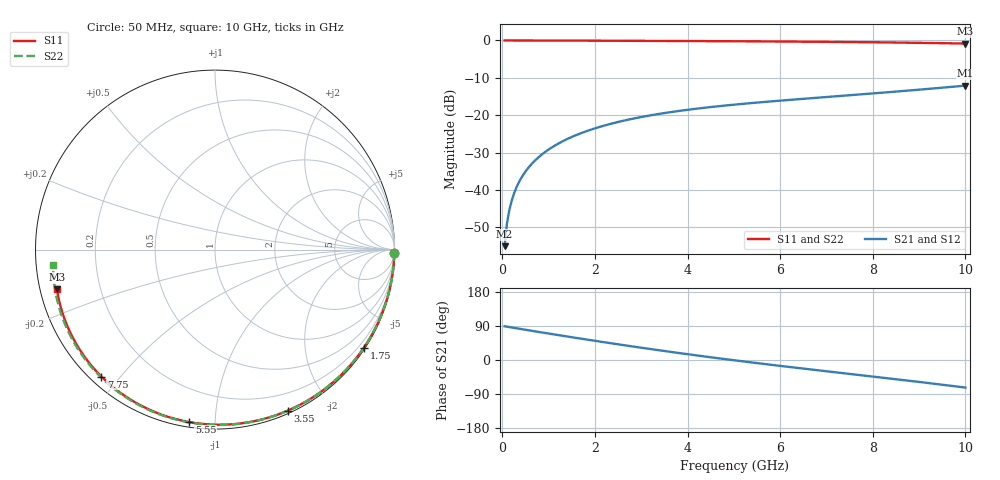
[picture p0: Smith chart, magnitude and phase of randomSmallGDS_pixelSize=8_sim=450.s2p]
! freq	dB(S11)	phase(S11)	dB(S12)	phase(S12)
!  dB(S21)	phase(S21)	dB(S22)	phase(S22)
!S-par simulation data
#  GHz  S  DB  R 50
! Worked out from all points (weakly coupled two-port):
!   200 points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, 50 MHz to 10 GHz, reference 50 ohm
!   highest |S21| = -12.09 dB at 10 GHz (marker M1); lowest = -55.0 dB at 50 MHz (marker M2)
!   lowest |S11| = -0.8 dB at 10 GHz (marker M3), VSWR 20.72, Z = 2.45 - j6.17 ohm
!   |S11| at or under -10 dB: nowhere
!   |S22| runs from -0.8 to 0.0 dB; largest |S21 - S12| = 0
!   S11 on the Smith chart (normalised r, x): 50 MHz: open; 1.75 GHz: 0.04, -3.33; 3.55 GHz: 0.03, -1.55; 5.55 GHz: 0.03, -0.86; 7.75 GHz: 0.03, -0.45; 10 GHz: 0.05, -0.12
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0.05  -0.01 -1.0  -55.02 89.0  -55.02 89.0  -0.01 -1.0
0.1  -0.01 -1.9  -49.00 87.9  -49.00 87.9  -0.01 -2.1
0.15  -0.01 -2.9  -45.48 86.9  -45.48 86.9  -0.01 -3.1
0.2  -0.01 -3.9  -42.98 85.9  -42.98 85.9  -0.01 -4.1
0.25  -0.01 -4.9  -41.05 84.8  -41.05 84.8  -0.01 -5.2
0.35  -0.01 -6.8  -38.14 82.8  -38.14 82.8  -0.01 -7.2
0.5  -0.01 -9.7  -35.07 79.7  -35.07 79.7  -0.01 -10.3
0.7  -0.02 -13.5  -32.19 75.7  -32.19 75.7  -0.02 -14.4
1  -0.03 -19.3  -29.18 69.8  -29.18 69.8  -0.03 -20.5
1.35  -0.04 -25.9  -26.68 63.0  -26.68 63.0  -0.04 -27.6
1.75  -0.06 -33.4  -24.57 55.3  -24.57 55.3  -0.06 -35.5
2.6  -0.09 -49.0  -21.51 39.6  -21.51 39.6  -0.10 -52.0
3.4  -0.13 -63.2  -19.62 25.4  -19.62 25.4  -0.13 -66.9
3.55  -0.14 -65.7  -19.33 22.8  -19.33 22.8  -0.14 -69.6
4.3  -0.17 -78.4  -18.10 10.4  -18.10 10.4  -0.18 -82.9
5.05  -0.22 -90.6  -17.12 -1.4  -17.12 -1.4  -0.22 -95.7
5.55  -0.25 -98.5  -16.56 -8.9  -16.56 -8.9  -0.26 -104.0
6.7  -0.34 -116.1  -15.42 -25.5  -15.42 -25.5  -0.35 -122.3
7.75  -0.45 -131.8  -14.42 -40.1  -14.42 -40.1  -0.47 -138.7
8.35  -0.53 -140.8  -13.83 -48.5  -13.83 -48.5  -0.55 -148.0
9.2  -0.67 -153.5  -12.96 -60.8  -12.96 -60.8  -0.69 -161.4
10  -0.84 -165.9  -12.09 -72.8  -12.09 -72.8  -0.85 -174.4
